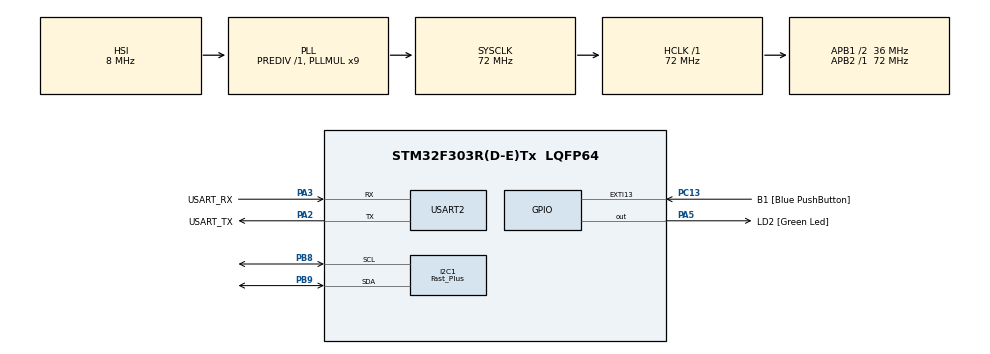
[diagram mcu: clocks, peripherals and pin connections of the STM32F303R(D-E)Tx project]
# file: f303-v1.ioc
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I2C1.I2C_Speed_Mode=I2C_Fast_Plus
I2C1.Timing=0x00000001
Mcu.Family=STM32F3
Mcu.Name=STM32F303R(D-E)Tx
Mcu.Package=LQFP64
NVIC.PriorityGroup=NVIC_PRIORITYGROUP_0
PA13.GPIO_Label=TMS
PA13.Mode=Serial_Wire
PA13.Signal=SYS_JTMS-SWDIO
PA14.GPIO_Label=TCK
PA14.Mode=Serial_Wire
PA14.Signal=SYS_JTCK-SWCLK
PA2.GPIO_Label=USART_TX
PA2.GPIO_Mode=GPIO_MODE_AF_PP
PA2.GPIO_PuPd=GPIO_NOPULL
PA2.GPIO_Speed=GPIO_SPEED_FREQ_LOW
PA2.Mode=Asynchronous
PA2.Signal=USART2_TX
PA3.GPIO_Label=USART_RX
PA3.GPIO_Mode=GPIO_MODE_AF_PP
PA3.GPIO_PuPd=GPIO_NOPULL
PA3.GPIO_Speed=GPIO_SPEED_FREQ_LOW
PA3.Mode=Asynchronous
PA3.Signal=USART2_RX
PA5.GPIO_Label=LD2 [Green Led]
PA5.GPIO_Mode=GPIO_MODE_OUTPUT_PP
PA5.GPIO_PuPd=GPIO_NOPULL
PA5.GPIO_Speed=GPIO_SPEED_FREQ_LOW
PA5.Signal=GPIO_Output
PB3.GPIO_Label=SWO
PB3.Signal=SYS_JTDO-TRACESWO
PB8.Mode=I2C
PB8.Signal=I2C1_SCL
PB9.Mode=I2C
PB9.Signal=I2C1_SDA
PC13.GPIO_Label=B1 [Blue PushButton]
PC13.GPIO_ModeDefaultEXTI=GPIO_MODE_IT_FALLING
PC13.Signal=GPXTI13
PC14-OSC32_IN.Mode=LSE-External-Oscillator
PC14-OSC32_IN.Signal=RCC_OSC32_IN
PC15-OSC32_OUT.Mode=LSE-External-Oscillator
PC15-OSC32_OUT.Signal=RCC_OSC32_OUT
PF0-OSC_IN.Mode=HSE-External-Clock-Source
PF0-OSC_IN.Signal=RCC_OSC_IN
PF1-OSC_OUT.Signal=RCC_OSC_OUT
ProjectManager.HeapSize=0x200
ProjectManager.StackSize=0x400
ProjectManager.TargetToolchain=Other Toolchains (GPDSC)
RCC.AHBFreq_Value=72000000
RCC.APB1CLKDivider=RCC_HCLK_DIV2
RCC.APB1Freq_Value=36000000
RCC.APB1TimFreq_Value=72000000
RCC.APB2Freq_Value=72000000
RCC.APB2TimFreq_Value=72000000
RCC.CortexFreq_Value=72000000
RCC.HCLKFreq_Value=72000000
RCC.HSE_VALUE=8000000
RCC.HSI_VALUE=8000000
RCC.PLLM=8
RCC.PLLMUL=RCC_PLL_MUL9
RCC.PLLN=336
RCC.PLLP=RCC_PLLP_DIV4
RCC.PLLQ=7
RCC.RCC_PLLsource_Clock_Source_FROM_HSE=RCC_HSE_PREDIV_DIV2
RCC.SYSCLKFreq_VALUE=72000000
RCC.SYSCLKSourceVirtual=RCC_SYSCLKSOURCE_PLLCLK
RCC.USBFreq_Value=72000000
USART2.VirtualMode-Asynchronous=VM_ASYNC
board=NUCLEO-F303RE

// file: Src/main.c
/* USER CODE BEGIN Header */
/**
  ******************************************************************************
  * @file           : main.c
  * @brief          : Main program body
  ******************************************************************************
  * @attention
  *
  * <h2><center>&copy; Copyright (c) 2019 STMicroelectronics.
  * All rights reserved.</center></h2>
  *
  * This software component is licensed by ST under BSD 3-Clause license,
  * the "License"; You may not use this file except in compliance with the
  * License. You may obtain a copy of the License at:
  *                        opensource.org/licenses/BSD-3-Clause
  *
  ******************************************************************************
  */
/* USER CODE END Header */

#include "main.h"
#include "i2c.h"
#include "usart.h"
#include "gpio.h"

/* USER CODE BEGIN Includes */
#include "ssd1306.h"

/* USER CODE END Includes */

void SystemClock_Config(void);

int main(void)
{

  /* MCU Configuration--------------------------------------------------------*/

  /* Reset of all peripherals, Initializes the Flash interface and the Systick. */
  HAL_Init();

  /* Configure the system clock */
  SystemClock_Config();

  /* Initialize all configured peripherals */
  MX_GPIO_Init();
  MX_USART2_UART_Init();
  MX_I2C1_Init();
  /* USER CODE BEGIN 2 */
	ssd1306_Init();
	ssd1306_Fill(0);
	ssd1306_UpdateScreen();

	ssd1306_SetCursor(3, 18);
	ssd1306_WriteString(" Inesita :)", Font_7x10, 1);
	ssd1306_UpdateScreen();

  /* USER CODE END 2 */

  /* Infinite loop */
	while (1)
	{

    /* USER CODE BEGIN 3 */
		ssd1306_DrawPixel(0, 0, 1);
		ssd1306_DrawPixel(127, 63, 1);
		ssd1306_DrawPixel(127, 0, 0);
		ssd1306_DrawPixel(0, 63, 0);
		ssd1306_UpdateScreen();
			HAL_Delay(300);
		ssd1306_DrawPixel(0, 0, 0);
		ssd1306_DrawPixel(127, 63, 0);
		ssd1306_DrawPixel(127, 0, 1);
		ssd1306_DrawPixel(0, 63, 1);
		ssd1306_UpdateScreen();
			HAL_Delay(300);
		}
  /* USER CODE END 3 */
}

void SystemClock_Config(void)
{
  RCC_OscInitTypeDef RCC_OscInitStruct = {0};
  RCC_ClkInitTypeDef RCC_ClkInitStruct = {0};
  RCC_PeriphCLKInitTypeDef PeriphClkInit = {0};

  /** Initializes the CPU, AHB and APB busses clocks
  */
  RCC_OscInitStruct.OscillatorType = RCC_OSCILLATORTYPE_HSI;
  RCC_OscInitStruct.HSIState = RCC_HSI_ON;
  RCC_OscInitStruct.HSICalibrationValue = RCC_HSICALIBRATION_DEFAULT;
  RCC_OscInitStruct.PLL.PLLState = RCC_PLL_ON;
  RCC_OscInitStruct.PLL.PLLSource = RCC_PLLSOURCE_HSI;
  RCC_OscInitStruct.PLL.PLLMUL = RCC_PLL_MUL9;
  RCC_OscInitStruct.PLL.PREDIV = RCC_PREDIV_DIV1;
  if (HAL_RCC_OscConfig(&RCC_OscInitStruct) != HAL_OK)
  {
    Error_Handler();
  }
  /** Initializes the CPU, AHB and APB busses clocks
  */
  RCC_ClkInitStruct.ClockType = RCC_CLOCKTYPE_HCLK|RCC_CLOCKTYPE_SYSCLK
                              |RCC_CLOCKTYPE_PCLK1|RCC_CLOCKTYPE_PCLK2;
  RCC_ClkInitStruct.SYSCLKSource = RCC_SYSCLKSOURCE_PLLCLK;
  RCC_ClkInitStruct.AHBCLKDivider = RCC_SYSCLK_DIV1;
  RCC_ClkInitStruct.APB1CLKDivider = RCC_HCLK_DIV2;
  RCC_ClkInitStruct.APB2CLKDivider = RCC_HCLK_DIV1;

  if (HAL_RCC_ClockConfig(&RCC_ClkInitStruct, FLASH_LATENCY_2) != HAL_OK)
  {
    Error_Handler();
  }
  PeriphClkInit.PeriphClockSelection = RCC_PERIPHCLK_USART2|RCC_PERIPHCLK_I2C1;
  PeriphClkInit.Usart2ClockSelection = RCC_USART2CLKSOURCE_PCLK1;
  PeriphClkInit.I2c1ClockSelection = RCC_I2C1CLKSOURCE_HSI;
  if (HAL_RCCEx_PeriphCLKConfig(&PeriphClkInit) != HAL_OK)
  {
    Error_Handler();
  }
}

void Error_Handler(void)
{
}

/************************ (C) COPYRIGHT STMicroelectronics *****END OF FILE****/
